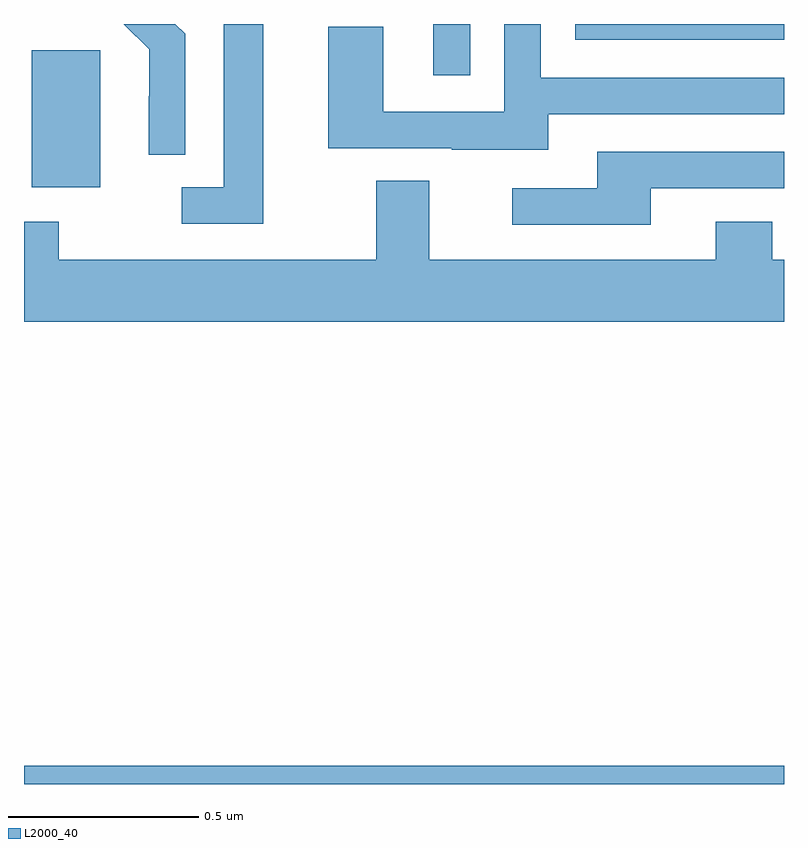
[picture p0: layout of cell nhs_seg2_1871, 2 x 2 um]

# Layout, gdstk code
import gdstk
lib = gdstk.Library(unit=1e-6, precision=1e-09)
def R(c, l, rs):  # rectangles x0, y0, x1, y1
    for r in rs: c.add(gdstk.rectangle(r[:2], r[2:], *l))
def P(c, l, *ps):  # polygons
    for p in ps: c.add(gdstk.Polygon(p, *l))
L2000_40 = (2000, 40)

nhs_seg2_1871 = lib.new_cell('nhs_seg2_1871')
R(nhs_seg2_1871, L2000_40, [(134,599.8,136,599.848), (134.021,601.37,134.2,601.731), (135.077,601.665,135.174,601.8), (135.45,601.758,136,601.8)])
P(nhs_seg2_1871, L2000_40, [(134.629,601.8),(134.525,601.8),(134.525,601.371),(134.415,601.371),(134.415,601.275),(134.629,601.275)],
  [(135.379,601.563),(136,601.563),(136,601.659),(135.36,601.659),(135.36,601.8),(135.264,601.8),(135.264,601.569),(134.946,601.569),(134.946,601.793),(134.801,601.793),(134.801,601.473),(135.125,601.473),(135.125,601.469),(135.379,601.469)],
  [(134.424,601.774),(134.398,601.8),(134.262,601.8),(134.33,601.733),(134.33,601.61),(134.328,601.61),(134.328,601.456),(134.424,601.456)],
  [(135.649,601.368),(136,601.368),(136,601.464),(135.509,601.464),(135.509,601.368),(135.285,601.368),(135.285,601.272),(135.649,601.272)],
  [(136,601.18),(135.969,601.18),(135.969,601.279),(135.821,601.279),(135.821,601.18),(135.067,601.18),(135.067,601.388),(134.927,601.388),(134.927,601.18),(134.091,601.18),(134.091,601.279),(134,601.279),(134,601.016),(136,601.016)])

lib.write_gds('nhs_seg2_1871.gds')
